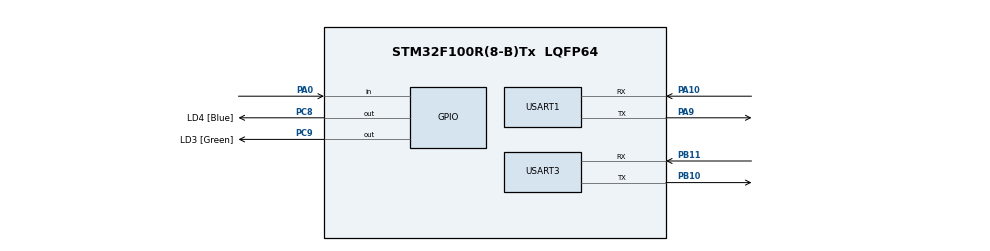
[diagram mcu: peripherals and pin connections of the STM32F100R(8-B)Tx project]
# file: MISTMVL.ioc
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Mcu.Family=STM32F1
Mcu.Name=STM32F100R(8-B)Tx
Mcu.Package=LQFP64
NVIC.PriorityGroup=NVIC_PRIORITYGROUP_4
PA0-WKUP.Signal=GPIO_Input
PA10.Mode=Asynchronous
PA10.Signal=USART1_RX
PA13.GPIO_Label=TMS_SWDIO
PA13.Mode=Serial_Wire
PA13.Signal=SYS_JTMS-SWDIO
PA14.GPIO_Label=TCK_SWCLK
PA14.Mode=Serial_Wire
PA14.Signal=SYS_JTCK-SWCLK
PA9.Mode=Asynchronous
PA9.Signal=USART1_TX
PB10.Mode=Asynchronous
PB10.Signal=USART3_TX
PB11.Mode=Asynchronous
PB11.Signal=USART3_RX
PC14-OSC32_IN.Mode=LSE-External-Oscillator
PC14-OSC32_IN.Signal=RCC_OSC32_IN
PC15-OSC32_OUT.Mode=LSE-External-Oscillator
PC15-OSC32_OUT.Signal=RCC_OSC32_OUT
PC8.GPIO_Label=LD4 [Blue]
PC8.Signal=GPIO_Output
PC9.GPIO_Label=LD3 [Green]
PC9.Signal=GPIO_Output
PD0-OSC_IN.Mode=HSE-External-Oscillator
PD0-OSC_IN.Signal=RCC_OSC_IN
PD1-OSC_OUT.Mode=HSE-External-Oscillator
PD1-OSC_OUT.Signal=RCC_OSC_OUT
ProjectManager.HeapSize=0x200
ProjectManager.StackSize=0x400
ProjectManager.TargetToolchain=STM32CubeIDE
RCC.APB1Freq_Value=8000000
RCC.APB2Freq_Value=8000000
USART1.VirtualMode=VM_ASYNC
USART3.VirtualMode=VM_ASYNC
board=STM32VLDISCOVERY

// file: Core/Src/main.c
/* USER CODE BEGIN Header */
/**
  ******************************************************************************
  * @file           : main.c
  * @brief          : Main program body
  ******************************************************************************
  * @attention
  *
  * Copyright (c) 2025 STMicroelectronics.
  * All rights reserved.
  *
  * This software is licensed under terms that can be found in the LICENSE file
  * in the root directory of this software component.
  * If no LICENSE file comes with this software, it is provided AS-IS.
  *
  ******************************************************************************
  */
/* USER CODE END Header */
#include "main.h"

/* USER CODE BEGIN PD */
#define DELAY 50
/* USER CODE END PD */

UART_HandleTypeDef huart1;
UART_HandleTypeDef huart3;

void SystemClock_Config(void);
static void MX_GPIO_Init(void);
static void MX_USART1_UART_Init(void);
static void MX_USART3_UART_Init(void);

/* USER CODE BEGIN 0 */
void print_number(int num) {
    char buffer[6];  // Espacio para hasta 5 dígitos más el carácter nulo '\0'
    int index = 0;
    // Extraer los dígitos de num y almacenarlos en buffer en orden inverso
    do {
        buffer[index++] = (num % 10) + '0';  // Extraemos el último dígito y lo convertimos a carácter
        num = num / 10;  // Eliminamos el último dígito dividiendo entre 10
    } while (num > 0);  // Continuamos hasta que el número se reduzca a 0

    // Invertir el orden de los dígitos en buffer para obtener el número correcto
    for (int i = 0, j = index - 1; i < j; i++, j--) {
        char temp = buffer[i];
        buffer[i] = buffer[j];
        buffer[j] = temp;
    }
    buffer[index] = '\0';  // Agregar el carácter nulo para finalizar la cadena

    // Enviar el número por UART
    HAL_UART_Transmit(&huart1, (uint8_t*)buffer, index, HAL_MAX_DELAY);

    // Enviar nueva línea
    HAL_UART_Transmit(&huart1, (uint8_t*)"\r\n", 2, HAL_MAX_DELAY);
}
/* USER CODE END 0 */

int main(void)
{

  /* MCU Configuration--------------------------------------------------------*/

  /* Reset of all peripherals, Initializes the Flash interface and the Systick. */
  HAL_Init();

  /* Configure the system clock */
  SystemClock_Config();

  /* Initialize all configured peripherals */
  MX_GPIO_Init();
  MX_USART1_UART_Init();
  MX_USART3_UART_Init();
  /* USER CODE BEGIN 2 */
  int contador = 0;
  int button_pressed = 0;
  uint8_t B1[]=" Botón presionado 1 veces \n\r";
  uint8_t B2[]=" Botón presionado 2 veces \n\r";
  uint8_t L1[]=" LED1 encendido \n\r";
  uint8_t L2[]=" LED2 encendido \n\r";
  /* USER CODE END 2 */

  /* Infinite loop */
  /* USER CODE BEGIN WHILE */
  while (1)
  {
	  if (HAL_GPIO_ReadPin(GPIOA, GPIO_PIN_0) == GPIO_PIN_RESET) {
          if (!button_pressed) {
              contador++;
              if (contador > 1) {
                  contador = 0;
              }
              button_pressed = 1;
          }
      } else {
          button_pressed = 0;

      }
      if (contador == 0) {
          HAL_GPIO_WritePin(GPIOC, LD4_Pin, GPIO_PIN_RESET);
          HAL_Delay(DELAY);
          HAL_GPIO_WritePin(GPIOC, LD3_Pin, GPIO_PIN_SET);
          HAL_Delay(DELAY);// LED Verde ON
          HAL_GPIO_WritePin(GPIOC, LD3_Pin, GPIO_PIN_RESET);
          HAL_Delay(DELAY);
          print_number(contador);
          HAL_UART_Transmit(&huart1, B1, strlen(B1), HAL_MAX_DELAY);
          HAL_UART_Transmit(&huart1, L1, strlen(L1), HAL_MAX_DELAY);
      }
      else if (contador == 1) {
          HAL_GPIO_WritePin(GPIOC, LD3_Pin, GPIO_PIN_RESET);
          HAL_Delay(DELAY);
          HAL_GPIO_WritePin(GPIOC, LD4_Pin, GPIO_PIN_SET);
          HAL_Delay(DELAY);// LED Verde ON
          HAL_GPIO_WritePin(GPIOC, LD4_Pin, GPIO_PIN_RESET);
          HAL_Delay(DELAY);
          print_number(contador);
          HAL_UART_Transmit(&huart1, B2, strlen(B2), HAL_MAX_DELAY);
          HAL_UART_Transmit(&huart1, L2, strlen(L2), HAL_MAX_DELAY);
      }
	     // simple_uart_test();
	      //HAL_Delay(DELAY);
    	  //HAL_GPIO_WritePin(GPIOC, LD3_Pin, GPIO_PIN_SET);
    	//  HAL_Delay(DELAY);
		//  HAL_GPIO_WritePin(GPIOC, LD4_Pin, GPIO_PIN_SET);
		 // HAL_Delay(DELAY);
    	  //HAL_GPIO_WritePin(GPIOC, LD3_Pin, GPIO_PIN_RESET);
    	  //HAL_Delay(DELAY);
    	  //HAL_GPIO_WritePin(GPIOC, LD4_Pin, GPIO_PIN_RESET);
    	  //HAL_Delay(DELAY);

    /* USER CODE END WHILE */

  }
}

void SystemClock_Config(void)
{
  RCC_OscInitTypeDef RCC_OscInitStruct = {0};
  RCC_ClkInitTypeDef RCC_ClkInitStruct = {0};

  /** Initializes the RCC Oscillators according to the specified parameters
  * in the RCC_OscInitTypeDef structure.
  */
  RCC_OscInitStruct.OscillatorType = RCC_OSCILLATORTYPE_HSI;
  RCC_OscInitStruct.HSIState = RCC_HSI_ON;
  RCC_OscInitStruct.HSICalibrationValue = RCC_HSICALIBRATION_DEFAULT;
  RCC_OscInitStruct.PLL.PLLState = RCC_PLL_NONE;
  if (HAL_RCC_OscConfig(&RCC_OscInitStruct) != HAL_OK)
  {
    Error_Handler();
  }

  /** Initializes the CPU, AHB and APB buses clocks
  */
  RCC_ClkInitStruct.ClockType = RCC_CLOCKTYPE_HCLK|RCC_CLOCKTYPE_SYSCLK
                              |RCC_CLOCKTYPE_PCLK1|RCC_CLOCKTYPE_PCLK2;
  RCC_ClkInitStruct.SYSCLKSource = RCC_SYSCLKSOURCE_HSI;
  RCC_ClkInitStruct.AHBCLKDivider = RCC_SYSCLK_DIV1;
  RCC_ClkInitStruct.APB1CLKDivider = RCC_HCLK_DIV1;
  RCC_ClkInitStruct.APB2CLKDivider = RCC_HCLK_DIV1;

  if (HAL_RCC_ClockConfig(&RCC_ClkInitStruct, FLASH_LATENCY_0) != HAL_OK)
  {
    Error_Handler();
  }
}

static void MX_USART1_UART_Init(void)
{

  huart1.Instance = USART1;
  huart1.Init.BaudRate = 115200;
  huart1.Init.WordLength = UART_WORDLENGTH_8B;
  huart1.Init.StopBits = UART_STOPBITS_1;
  huart1.Init.Parity = UART_PARITY_NONE;
  huart1.Init.Mode = UART_MODE_TX_RX;
  huart1.Init.HwFlowCtl = UART_HWCONTROL_NONE;
  huart1.Init.OverSampling = UART_OVERSAMPLING_16;
  if (HAL_UART_Init(&huart1) != HAL_OK)
  {
    Error_Handler();
  }

}

static void MX_USART3_UART_Init(void)
{

  huart3.Instance = USART3;
  huart3.Init.BaudRate = 115200;
  huart3.Init.WordLength = UART_WORDLENGTH_8B;
  huart3.Init.StopBits = UART_STOPBITS_1;
  huart3.Init.Parity = UART_PARITY_NONE;
  huart3.Init.Mode = UART_MODE_TX_RX;
  huart3.Init.HwFlowCtl = UART_HWCONTROL_NONE;
  huart3.Init.OverSampling = UART_OVERSAMPLING_16;
  if (HAL_UART_Init(&huart3) != HAL_OK)
  {
    Error_Handler();
  }

}

static void MX_GPIO_Init(void)
{
  GPIO_InitTypeDef GPIO_InitStruct = {0};

  /* GPIO Ports Clock Enable */
  __HAL_RCC_GPIOC_CLK_ENABLE();
  __HAL_RCC_GPIOD_CLK_ENABLE();
  __HAL_RCC_GPIOA_CLK_ENABLE();
  __HAL_RCC_GPIOB_CLK_ENABLE();

  /*Configure GPIO pin Output Level */
  HAL_GPIO_WritePin(GPIOC, LD4_Pin|LD3_Pin, GPIO_PIN_RESET);

  /*Configure GPIO pin : PA0 */
  GPIO_InitStruct.Pin = GPIO_PIN_0;
  GPIO_InitStruct.Mode = GPIO_MODE_INPUT;
  GPIO_InitStruct.Pull = GPIO_PULLDOWN;
  HAL_GPIO_Init(GPIOA, &GPIO_InitStruct);

  /*Configure GPIO pins : LD4_Pin LD3_Pin */
  GPIO_InitStruct.Pin = LD4_Pin|LD3_Pin;
  GPIO_InitStruct.Mode = GPIO_MODE_OUTPUT_PP;
  GPIO_InitStruct.Pull = GPIO_NOPULL;
  GPIO_InitStruct.Speed = GPIO_SPEED_FREQ_LOW;
  HAL_GPIO_Init(GPIOC, &GPIO_InitStruct);

}

void Error_Handler(void)
{
  __disable_irq();
  while (1)
  {
  }
}
